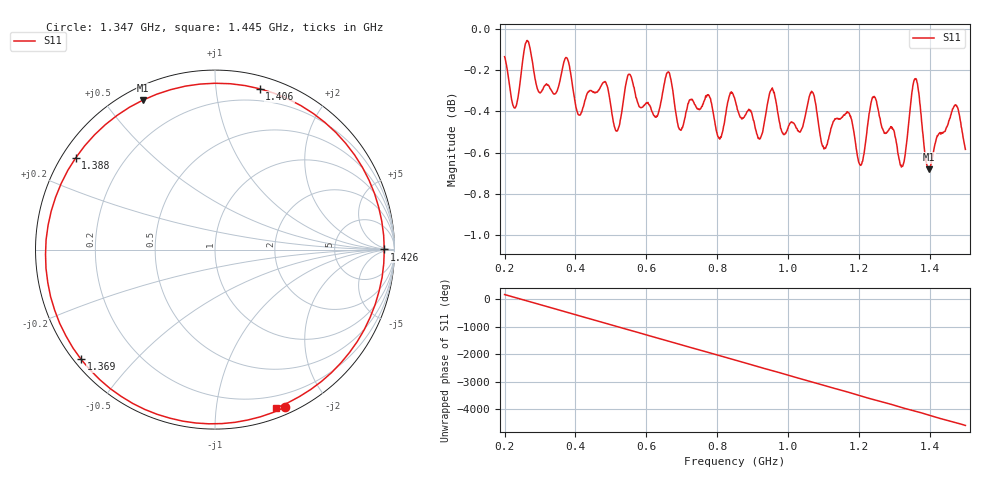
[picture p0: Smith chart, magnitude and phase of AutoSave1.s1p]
!Agilent N9923A: A.05.17
!Date: Sunday, 01 January 2006 13:10:50
!Model: N9923A
!Serial: MY50371189
!CHECKSUM:1048897431
!Correction: S11(ON U)
!S1P File: Measurement: S11:
# Hz S RI R 50
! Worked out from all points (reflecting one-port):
!   1001 points, 200 MHz to 1.5 GHz, reference 50 ohm
!   lowest |S11| = -0.7 dB at 1.396 GHz (marker M1), VSWR 25.54, Z = 2.73 + j31.3 ohm
!   phase of S11 starts at 166 deg and turns -4750 deg over the sweep
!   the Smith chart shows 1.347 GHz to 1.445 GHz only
!   S11 on the Smith chart (normalised r, x): 1.347 GHz: 0.07, -1.53; 1.369 GHz: 0.02, -0.36; 1.388 GHz: 0.04, +0.30; 1.406 GHz: 0.10, +1.31; 1.426 GHz: 34, +1; 1.445 GHz: 0.09, -1.45
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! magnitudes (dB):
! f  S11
! 200 MHz  -0.1
! 228.6 MHz  -0.4
! 262.4 MHz  -0.1
! 298.8 MHz  -0.3
! 362.5 MHz  -0.2
! 525 MHz  -0.5
! 549.7 MHz  -0.2
! 626.4 MHz  -0.4
! 660.2 MHz  -0.2
! 687.5 MHz  -0.5
! 773.3 MHz  -0.3
! 807.1 MHz  -0.5
! 850 MHz  -0.3
! 1.012 GHz  -0.5
! 1.175 GHz  -0.4
! 1.204 GHz  -0.7
! 1.24 GHz  -0.3
! 1.319 GHz  -0.7
! 1.337 GHz  -0.5
! 1.347 GHz  -0.3
! 1.369 GHz  -0.3
! 1.388 GHz  -0.6
! 1.396 GHz  -0.7
! 1.406 GHz  -0.6
! 1.426 GHz  -0.5
! 1.445 GHz  -0.5
! 1.474 GHz  -0.4
! 1.5 GHz  -0.6
